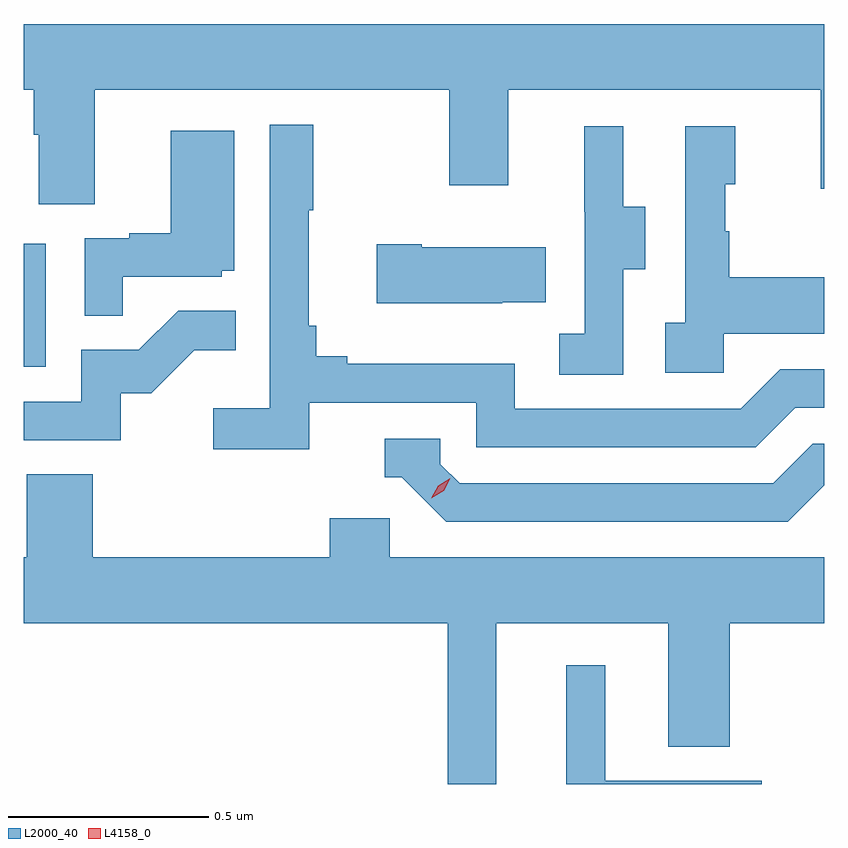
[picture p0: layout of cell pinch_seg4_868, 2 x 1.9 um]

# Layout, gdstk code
import gdstk
lib = gdstk.Library(unit=1e-6, precision=1e-09)
def R(c, l, rs):  # rectangles x0, y0, x1, y1
    for r in rs: c.add(gdstk.rectangle(r[:2], r[2:], *l))
def P(c, l, *ps):  # polygons
    for p in ps: c.add(gdstk.Polygon(p, *l))
L2000_40 = (2000, 40)
L4158_0 = (4158, 0)

pinch_seg4_868 = lib.new_cell('pinch_seg4_868')
R(pinch_seg4_868, L2000_40, [(868.503,802.788,868.558,803.095)])
P(pinch_seg4_868, L2000_40, [(868.681,803.48),(869.566,803.48),(869.566,803.241),(869.713,803.241),(869.713,803.48),(870.494,803.48),(870.494,803.232),(870.503,803.232),(870.503,803.644),(868.503,803.644),(868.503,803.48),(868.529,803.48),(868.529,803.368),(868.541,803.368),(868.541,803.194),(868.681,803.194)],
  [(869.216,802.698),(869.634,802.698),(869.634,802.587),(870.331,802.587),(870.43,802.686),(870.503,802.686),(870.503,802.782),(870.393,802.782),(870.294,802.683),(869.73,802.683),(869.73,802.795),(869.311,802.795),(869.311,802.814),(869.234,802.814),(869.234,802.891),(869.215,802.891),(869.215,803.179),(869.227,803.179),(869.227,803.392),(869.118,803.392),(869.118,802.684),(868.977,802.684),(868.977,802.582),(869.216,802.582)],
  [(870.252,802.871),(870.503,802.871),(870.503,803.011),(870.265,803.011),(870.265,803.126),(870.255,803.126),(870.255,803.244),(870.28,803.244),(870.28,803.389),(870.156,803.389),(870.156,802.898),(870.105,802.898),(870.105,802.773),(870.252,802.773)],
  [(870,803.032),(870.055,803.032),(870.055,803.187),(870.001,803.187),(870.001,803.389),(869.903,803.389),(869.903,803.175),(869.904,803.175),(869.904,802.871),(869.841,802.871),(869.841,802.768),(870,802.768)],
  [(868.751,803.013),(868.998,803.013),(868.998,803.028),(869.029,803.028),(869.029,803.377),(868.871,803.377),(868.871,803.122),(868.767,803.122),(868.767,803.109),(868.656,803.109),(868.656,802.915),(868.751,802.915)],
  [(869.699,802.949),(869.807,802.949),(869.807,803.086),(869.497,803.086),(869.497,803.094),(869.385,803.094),(869.385,802.946),(869.699,802.946)],
  [(868.746,802.722),(868.822,802.722),(868.929,802.829),(869.033,802.829),(869.033,802.928),(868.889,802.928),(868.791,802.83),(868.647,802.83),(868.647,802.701),(868.503,802.701),(868.503,802.605),(868.746,802.605)],
  [(870.503,802.492),(870.503,802.596),(870.474,802.596),(870.375,802.497),(869.592,802.497),(869.544,802.545),(869.544,802.608),(869.405,802.608),(869.405,802.512),(869.448,802.512),(869.559,802.401),(870.412,802.401)],
  [(869.683,802.148),(870.113,802.148),(870.113,801.839),(870.266,801.839),(870.266,802.148),(870.503,802.148),(870.503,802.312),(869.418,802.312),(869.418,802.41),(869.267,802.41),(869.267,802.312),(868.676,802.312),(868.676,802.52),(868.511,802.52),(868.511,802.312),(868.503,802.312),(868.503,802.148),(869.562,802.148),(869.562,801.746),(869.683,801.746)],
  [(870.347,801.754),(869.956,801.754),(869.956,802.042),(869.858,802.042),(869.858,801.746),(870.347,801.746)])
P(pinch_seg4_868, L4158_0, [(869.521,802.459),(869.521,802.459),(869.538,802.491),(869.569,802.51),(869.569,802.51),(869.569,802.51),(869.552,802.478),(869.521,802.459)])

lib.write_gds('pinch_seg4_868.gds')
